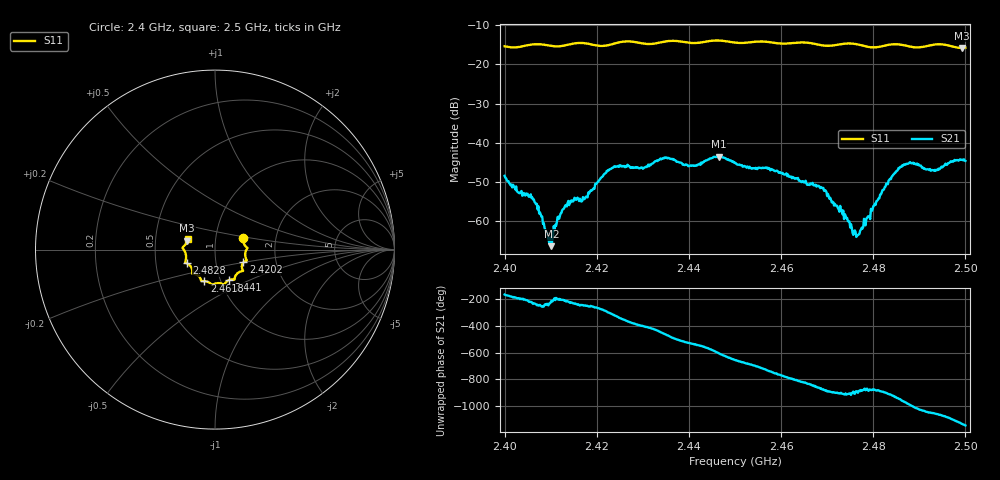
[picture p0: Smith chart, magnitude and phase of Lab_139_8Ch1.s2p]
# Hz S RI R 50
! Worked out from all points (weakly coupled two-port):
!   601 points, 2.4 GHz to 2.5 GHz, reference 50 ohm
!   highest |S21| = -43.49 dB at 2.4465 GHz (marker M1); lowest = -66.3 dB at 2.4102 GHz (marker M2)
!   lowest |S11| = -15.8 dB at 2.4992 GHz (marker M3), VSWR 1.39, Z = 36.5 + j3.68 ohm
!   |S11| at or under -10 dB: start of sweep to end of sweep
!   S12 and S22 are empty: the file has one direction only
!   S11 on the Smith chart (normalised r, x): 2.4 GHz: 1.36, +0.18; 2.4202 GHz: 1.36, -0.20; 2.441 GHz: 1.10, -0.39; 2.4618 GHz: 0.84, -0.30; 2.4828 GHz: 0.72, -0.11; 2.5 GHz: 0.73, +0.09
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2.4e9  0.1582 0.0628  -0.00373 -0.000742  0 0  0 0
2.406167e9  0.1795 0.0108  -0.001 0.00162  0 0  0 0
2.409333e9  0.175 -0.000821  -0.000364 0.000593  0 0  0 0
2.410167e9  0.1713 -0.008  -0.000398 0.000273  0 0  0 0
2.413333e9  0.1704 -0.0435  -0.00122 0.00106  0 0  0 0
2.416667e9  0.1775 -0.0607  -0.000722 0.00164  0 0  0 0
2.420167e9  0.1582 -0.0711  -4.42e-05 0.00314  0 0  0 0
2.423833e9  0.1511 -0.1059  0.00414 0.00289  0 0  0 0
2.433333e9  0.1114 -0.1511  0.00116 -0.0059  0 0  0 0
2.441e9  0.0785 -0.1695  -0.00516 -0.000317  0 0  0 0
2.4465e9  0.049 -0.1955  -0.00273 0.00611  0 0  0 0
2.45e9  0.0282 -0.1875  0.00246 0.00495  0 0  0 0
2.461833e9  -0.0596 -0.1757  0.00125 -0.00347  0 0  0 0
2.466667e9  -0.0787 -0.1682  -0.00161 -0.0025  0 0  0 0
2.469333e9  -0.0899 -0.1483  -0.0023 -0.000858  0 0  0 0
2.476667e9  -0.1268 -0.1268  -0.000669 -3.24e-06  0 0  0 0
2.482833e9  -0.1575 -0.0767  -0.00302 7.78e-05  0 0  0 0
2.483333e9  -0.1608 -0.0753  -0.00326 0.000496  0 0  0 0
2.487667e9  -0.1617 -0.0531  -0.000621 0.00544  0 0  0 0
2.493e9  -0.1781 0.00505  0.00388 0.00225  0 0  0 0
2.499167e9  -0.1545 0.0491  0.00393 -0.00466  0 0  0 0
2.5e9  -0.1519 0.0609  0.00275 -0.00521  0 0  0 0
